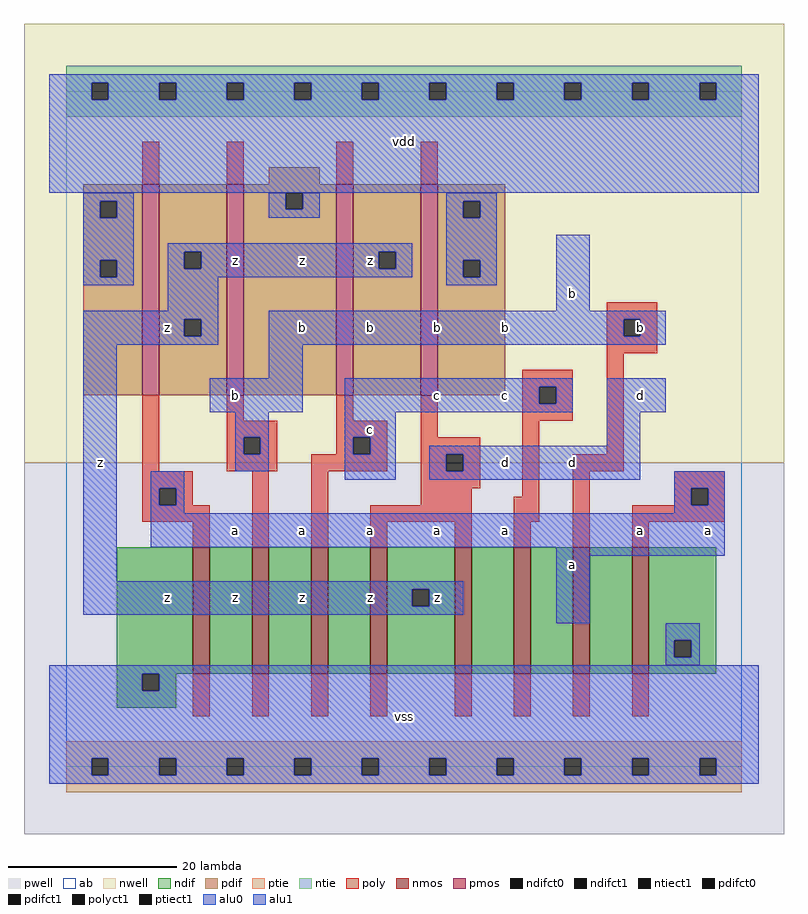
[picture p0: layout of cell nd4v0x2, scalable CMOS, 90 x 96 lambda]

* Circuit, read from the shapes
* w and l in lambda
.subckt nd4v0x2 a b c d vdd vss z
M1 n1 a vss vss nfet w=15 l=2
M2 n2 b n1 vss nfet w=15 l=2
M3 n3 c n2 vss nfet w=15 l=2
M4 z d n3 vss nfet w=15 l=2
M5 n4 d z vss nfet w=15 l=2
M6 n5 c n4 vss nfet w=15 l=2
M7 n6 b n5 vss nfet w=15 l=2
M8 vss a n6 vss nfet w=15 l=2
M9 z a vdd vdd pfet w=25 l=2
M10 vdd b z vdd pfet w=25 l=2
M11 z c vdd vdd pfet w=25 l=2
M12 vdd d z vdd pfet w=25 l=2
.ends

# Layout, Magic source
magic
tech scmos
<< ab >>
rect 0 0 80 80
<< nwell >>
rect -5 36 85 88
<< pwell >>
rect -5 -8 85 36
<< poly >>
rect 9 69 11 74
rect 19 69 21 74
rect 32 69 34 74
rect 42 69 44 74
rect 64 53 70 55
rect 64 51 66 53
rect 68 51 70 53
rect 64 49 70 51
rect 54 45 60 47
rect 9 35 11 44
rect 19 41 21 44
rect 32 41 34 44
rect 19 39 25 41
rect 19 37 21 39
rect 23 37 25 39
rect 32 39 38 41
rect 32 37 34 39
rect 36 37 38 39
rect 19 35 25 37
rect 29 35 38 37
rect 42 39 44 44
rect 54 43 56 45
rect 58 43 60 45
rect 54 41 60 43
rect 42 37 49 39
rect 42 35 45 37
rect 47 35 49 37
rect 9 33 15 35
rect 9 31 11 33
rect 13 31 15 33
rect 9 29 17 31
rect 15 26 17 29
rect 22 26 24 35
rect 29 26 31 35
rect 42 33 49 35
rect 42 31 48 33
rect 54 32 56 41
rect 64 37 66 49
rect 36 29 48 31
rect 36 26 38 29
rect 46 26 48 29
rect 53 29 56 32
rect 60 35 66 37
rect 53 26 55 29
rect 60 26 62 35
rect 72 33 78 35
rect 72 31 74 33
rect 76 31 78 33
rect 67 29 78 31
rect 67 26 69 29
rect 15 6 17 11
rect 22 6 24 11
rect 29 6 31 11
rect 36 6 38 11
rect 46 6 48 11
rect 53 6 55 11
rect 60 6 62 11
rect 67 6 69 11
<< ndif >>
rect 6 11 15 26
rect 17 11 22 26
rect 24 11 29 26
rect 31 11 36 26
rect 38 21 46 26
rect 38 19 41 21
rect 43 19 46 21
rect 38 11 46 19
rect 48 11 53 26
rect 55 11 60 26
rect 62 11 67 26
rect 69 15 77 26
rect 69 13 72 15
rect 74 13 77 15
rect 69 11 77 13
rect 6 9 9 11
rect 11 9 13 11
rect 6 7 13 9
<< pdif >>
rect 24 69 30 71
rect 2 67 9 69
rect 2 65 4 67
rect 6 65 9 67
rect 2 60 9 65
rect 2 58 4 60
rect 6 58 9 60
rect 2 44 9 58
rect 11 61 19 69
rect 11 59 14 61
rect 16 59 19 61
rect 11 53 19 59
rect 11 51 14 53
rect 16 51 19 53
rect 11 44 19 51
rect 21 68 32 69
rect 21 66 26 68
rect 28 66 32 68
rect 21 44 32 66
rect 34 61 42 69
rect 34 59 37 61
rect 39 59 42 61
rect 34 44 42 59
rect 44 67 52 69
rect 44 65 47 67
rect 49 65 52 67
rect 44 60 52 65
rect 44 58 47 60
rect 49 58 52 60
rect 44 44 52 58
<< alu1 >>
rect -2 81 82 82
rect -2 79 3 81
rect 5 79 11 81
rect 13 79 19 81
rect 21 79 27 81
rect 29 79 35 81
rect 37 79 43 81
rect 45 79 51 81
rect 53 79 59 81
rect 61 79 67 81
rect 69 79 75 81
rect 77 79 82 81
rect -2 68 82 79
rect 12 61 41 62
rect 12 59 14 61
rect 16 59 37 61
rect 39 59 41 61
rect 12 58 41 59
rect 12 54 18 58
rect 58 54 62 63
rect 2 53 18 54
rect 2 51 14 53
rect 16 51 18 53
rect 2 50 18 51
rect 24 53 71 54
rect 24 51 66 53
rect 68 51 71 53
rect 24 50 71 51
rect 2 22 6 50
rect 24 46 28 50
rect 17 42 28 46
rect 33 45 60 46
rect 33 43 56 45
rect 58 43 60 45
rect 33 42 60 43
rect 64 42 71 46
rect 20 39 24 42
rect 20 37 21 39
rect 23 37 24 39
rect 20 35 24 37
rect 33 39 39 42
rect 33 37 34 39
rect 36 37 39 39
rect 64 38 68 42
rect 10 33 14 35
rect 33 34 39 37
rect 43 37 68 38
rect 43 35 45 37
rect 47 35 68 37
rect 43 34 68 35
rect 10 31 11 33
rect 13 31 14 33
rect 10 30 14 31
rect 72 33 78 35
rect 72 31 74 33
rect 76 31 78 33
rect 72 30 78 31
rect 10 26 78 30
rect 58 25 78 26
rect 2 21 47 22
rect 2 19 41 21
rect 43 19 47 21
rect 2 18 47 19
rect 58 17 62 25
rect -2 11 82 12
rect -2 9 9 11
rect 11 9 82 11
rect -2 1 82 9
rect -2 -1 3 1
rect 5 -1 11 1
rect 13 -1 19 1
rect 21 -1 27 1
rect 29 -1 35 1
rect 37 -1 43 1
rect 45 -1 51 1
rect 53 -1 59 1
rect 61 -1 67 1
rect 69 -1 75 1
rect 77 -1 82 1
rect -2 -2 82 -1
<< ptie >>
rect 0 1 80 3
rect 0 -1 3 1
rect 5 -1 11 1
rect 13 -1 19 1
rect 21 -1 27 1
rect 29 -1 35 1
rect 37 -1 43 1
rect 45 -1 51 1
rect 53 -1 59 1
rect 61 -1 67 1
rect 69 -1 75 1
rect 77 -1 80 1
rect 0 -3 80 -1
<< ntie >>
rect 0 81 80 83
rect 0 79 3 81
rect 5 79 11 81
rect 13 79 19 81
rect 21 79 27 81
rect 29 79 35 81
rect 37 79 43 81
rect 45 79 51 81
rect 53 79 59 81
rect 61 79 67 81
rect 69 79 75 81
rect 77 79 80 81
rect 0 77 80 79
<< nmos >>
rect 15 11 17 26
rect 22 11 24 26
rect 29 11 31 26
rect 36 11 38 26
rect 46 11 48 26
rect 53 11 55 26
rect 60 11 62 26
rect 67 11 69 26
<< pmos >>
rect 9 44 11 69
rect 19 44 21 69
rect 32 44 34 69
rect 42 44 44 69
<< polyct1 >>
rect 66 51 68 53
rect 21 37 23 39
rect 34 37 36 39
rect 56 43 58 45
rect 45 35 47 37
rect 11 31 13 33
rect 74 31 76 33
<< ndifct0 >>
rect 72 13 74 15
<< ndifct1 >>
rect 41 19 43 21
rect 9 9 11 11
<< ntiect1 >>
rect 3 79 5 81
rect 11 79 13 81
rect 19 79 21 81
rect 27 79 29 81
rect 35 79 37 81
rect 43 79 45 81
rect 51 79 53 81
rect 59 79 61 81
rect 67 79 69 81
rect 75 79 77 81
<< ptiect1 >>
rect 3 -1 5 1
rect 11 -1 13 1
rect 19 -1 21 1
rect 27 -1 29 1
rect 35 -1 37 1
rect 43 -1 45 1
rect 51 -1 53 1
rect 59 -1 61 1
rect 67 -1 69 1
rect 75 -1 77 1
<< pdifct0 >>
rect 4 65 6 67
rect 4 58 6 60
rect 26 66 28 68
rect 47 65 49 67
rect 47 58 49 60
<< pdifct1 >>
rect 14 59 16 61
rect 14 51 16 53
rect 37 59 39 61
<< alu0 >>
rect 2 67 8 68
rect 2 65 4 67
rect 6 65 8 67
rect 24 66 26 68
rect 28 66 30 68
rect 24 65 30 66
rect 45 67 51 68
rect 45 65 47 67
rect 49 65 51 67
rect 2 60 8 65
rect 2 58 4 60
rect 6 58 8 60
rect 2 57 8 58
rect 45 60 51 65
rect 45 58 47 60
rect 49 58 51 60
rect 45 57 51 58
rect 71 15 75 17
rect 71 13 72 15
rect 74 13 75 15
rect 71 12 75 13
<< labels >>
rlabel alu1 4 36 4 36 6 z
rlabel alu1 12 20 12 20 6 z
rlabel alu1 20 20 20 20 6 z
rlabel alu1 20 28 20 28 6 a
rlabel alu1 28 20 28 20 6 z
rlabel alu1 28 28 28 28 6 a
rlabel alu1 20 44 20 44 6 b
rlabel alu1 28 52 28 52 6 b
rlabel alu1 12 52 12 52 6 z
rlabel alu1 20 60 20 60 6 z
rlabel alu1 28 60 28 60 6 z
rlabel alu1 40 6 40 6 6 vss
rlabel alu1 36 20 36 20 6 z
rlabel alu1 36 28 36 28 6 a
rlabel alu1 44 20 44 20 6 z
rlabel alu1 44 28 44 28 6 a
rlabel alu1 36 40 36 40 6 c
rlabel alu1 44 44 44 44 6 c
rlabel alu1 36 52 36 52 6 b
rlabel alu1 44 52 44 52 6 b
rlabel alu1 36 60 36 60 6 z
rlabel alu1 40 74 40 74 6 vdd
rlabel alu1 52 28 52 28 6 a
rlabel alu1 60 24 60 24 6 a
rlabel alu1 52 36 52 36 6 d
rlabel alu1 52 44 52 44 6 c
rlabel alu1 60 36 60 36 6 d
rlabel alu1 52 52 52 52 6 b
rlabel alu1 60 56 60 56 6 b
rlabel alu1 68 28 68 28 6 a
rlabel alu1 76 28 76 28 6 a
rlabel alu1 68 44 68 44 6 d
rlabel alu1 68 52 68 52 6 b
<< end >>
